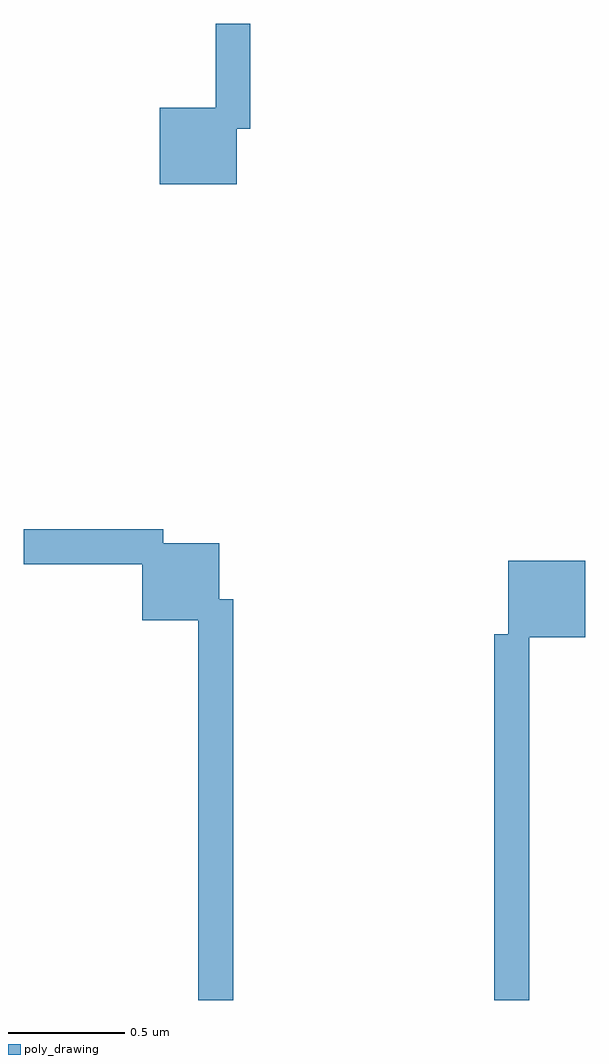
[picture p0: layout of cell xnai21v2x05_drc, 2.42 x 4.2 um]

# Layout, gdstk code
import gdstk
lib = gdstk.Library(unit=1e-6, precision=5e-09)
def R(c, l, rs):  # rectangles x0, y0, x1, y1
    for r in rs: c.add(gdstk.rectangle(r[:2], r[2:], *l))
poly_drawing = (66, 20)

xnai21v2x05_drc = lib.new_cell('xnai21v2x05_drc')
R(xnai21v2x05_drc, poly_drawing, [(1.425,0.6,1.575,2.325), (1.425,0.6,1.575,2.325), (2.7,0.6,2.85,2.175), (2.7,0.6,2.85,2.175), (2.76,2.16,3.09,2.49), (2.76,2.16,3.09,2.49), (1.185,2.235,1.515,2.565), (1.185,2.235,1.515,2.565), (1.185,2.235,1.515,2.565), (1.185,2.235,1.515,2.565), (0.675,2.475,1.275,2.625), (0.675,2.475,1.275,2.625), (1.26,4.11,1.59,4.44), (1.26,4.11,1.59,4.44), (1.5,4.35,1.65,4.8), (1.5,4.35,1.65,4.8)])

lib.write_gds('xnai21v2x05_drc.gds')
